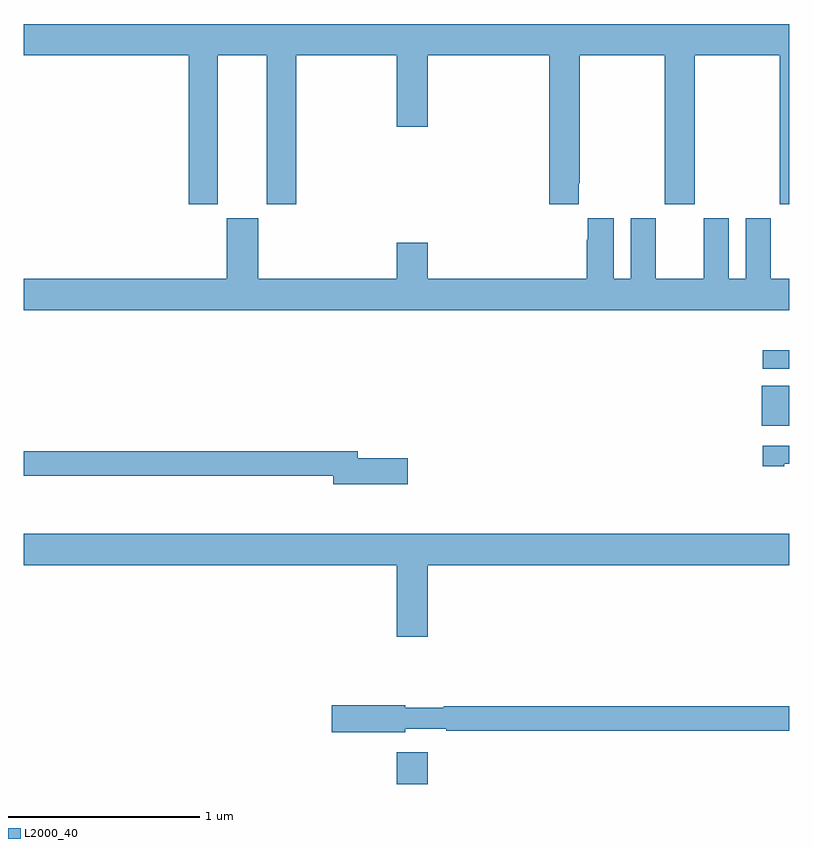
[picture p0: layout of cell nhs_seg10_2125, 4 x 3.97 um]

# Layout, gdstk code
import gdstk
lib = gdstk.Library(unit=1e-6, precision=1e-09)
def R(c, l, rs):  # rectangles x0, y0, x1, y1
    for r in rs: c.add(gdstk.rectangle(r[:2], r[2:], *l))
def P(c, l, *ps):  # polygons
    for p in ps: c.add(gdstk.Polygon(p, *l))
L2000_40 = (2000, 40)

nhs_seg10_2125 = lib.new_cell('nhs_seg10_2125')
R(nhs_seg10_2125, L2000_40, [(224.948,1304.5,225.112,1304.665), (226.856,1306.373,227,1306.582), (226.863,1306.671,227,1306.767)])
P(nhs_seg10_2125, L2000_40, [(224.014,1308.308),(224.27,1308.308),(224.27,1307.529),(224.423,1307.529),(224.423,1308.308),(224.948,1308.308),(224.948,1307.934),(225.112,1307.934),(225.112,1308.308),(225.746,1308.308),(225.746,1307.529),(225.901,1307.529),(225.901,1307.641),(225.906,1307.641),(225.906,1308.308),(226.351,1308.308),(226.351,1307.529),(226.506,1307.529),(226.506,1308.308),(226.951,1308.308),(226.951,1307.529),(227,1307.529),(227,1308.472),(223,1308.472),(223,1308.308),(223.862,1308.308),(223.862,1307.529),(224.014,1307.529)],
  [(227,1307.14),(226.903,1307.14),(226.903,1307.458),(226.772,1307.458),(226.772,1307.14),(226.684,1307.14),(226.684,1307.458),(226.553,1307.458),(226.553,1307.14),(226.303,1307.14),(226.303,1307.458),(226.172,1307.458),(226.172,1307.14),(226.084,1307.14),(226.084,1307.458),(225.947,1307.458),(225.947,1307.345),(225.941,1307.345),(225.941,1307.14),(225.112,1307.14),(225.112,1307.329),(224.948,1307.329),(224.948,1307.14),(224.224,1307.14),(224.224,1307.457),(224.06,1307.457),(224.06,1307.14),(223,1307.14),(223,1306.976),(227,1306.976)],
  [(226.975,1306.173),(227,1306.173),(227,1306.269),(226.863,1306.269),(226.863,1306.161),(226.975,1306.161)],
  [(225.007,1306.202),(224.746,1306.202),(224.746,1306.238),(223,1306.238),(223,1306.11),(224.618,1306.11),(224.618,1306.067),(225.007,1306.067)],
  [(225.112,1305.644),(227,1305.644),(227,1305.808),(223,1305.808),(223,1305.644),(224.948,1305.644),(224.948,1305.27),(225.112,1305.27)],
  [(224.994,1304.79),(225.208,1304.79),(225.208,1304.778),(227,1304.778),(227,1304.906),(225.194,1304.906),(225.194,1304.899),(224.994,1304.899),(224.994,1304.912),(224.61,1304.912),(224.61,1304.77),(224.994,1304.77)])

lib.write_gds('nhs_seg10_2125.gds')
